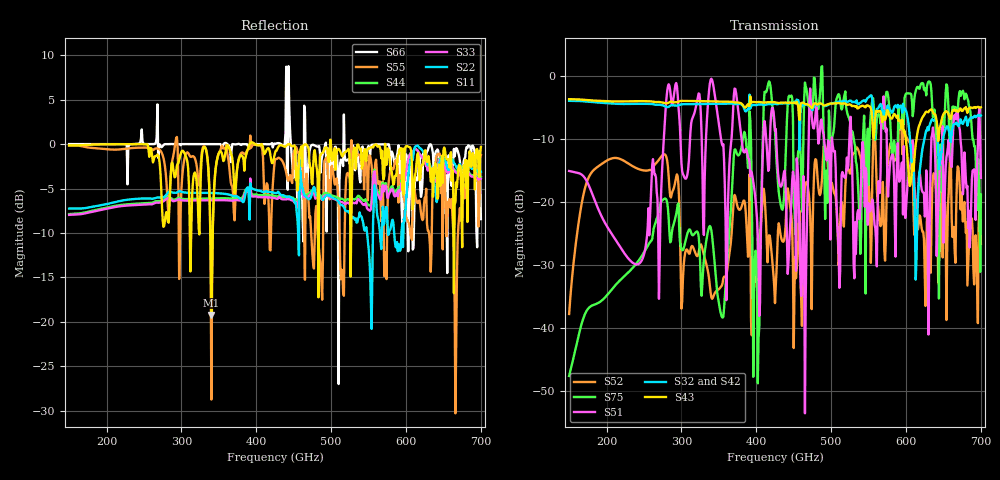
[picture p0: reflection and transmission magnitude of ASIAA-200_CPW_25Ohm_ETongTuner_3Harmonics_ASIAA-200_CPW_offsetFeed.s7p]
! Touchstone file exported from HFSS 2019.1.0
!  File:  D:/pgrimes/HFSS/SMA/ASIAA-200_CPW_25Ohm_ETongTuner_3Harmonics.aedt
!  Generated:  10:52:51 AM  Jun 10, 2019
!  Design:  ASIAA-200_CPW_offsetFeed
!  Project:  ASIAA-200_CPW_25Ohm_ETongTuner_3Harmonics
!  Setup:  Setup1
!  Solution:  Sweep
! Variables:
!  Area = 2.01061929829747
!  BackshortLength = 13.5mil
!  CPWGap = 4um
!  CPWLength = 32um
!  CPWSidegap = 2um
!  CPWWidth = 10um
!  CPWlineEndgap = 3um
!  CPWlineSidegap = 2um
!  CPWlineWidth = 8um
!  CPWlinelength = 14um
!  Cap = 0fF
!  CenterGap = 2um
!  ChipHeight = 5mil
!  ChipLength = 6mm
!  ChipSlotDepth = 5mil
!  ChipSlotExtDepth = 7.5mil
!  ChipSlotExtLen = 1.75mm
!  ChipSlotExtLength = 1.75mm
!  ChipSlotExtWidth = 16mil
!  ChipSlotFrontDepth = 5mil
!  ChipSlotFrontLength = 2mm
!  ChipSlotFrontWidth = 16mil
!  ChipSlotLength = 6mm
!  ChipSlotWidth = 20mil
!  ChipWidth = 0.5mm
!  FeedExtLength = 30um
!  FeedExtWidth = 10um
!  FeedLength = 100um
!  FeedWidth = 5um
!  GroundThick = 0.2um
!  InputLength = 400um
!  JunctionSize = 1.6um
!  Line2Length = 9um
!  PadWidth = 6um
!  Rj = 13.4286983233787ohm
!  Rn = 13.4286983233787ohm
!  RnA = 27ohm
!  Scap = 0fF
!  SiOlength = 200um
!  SiOstart = 50um
!  SiOthick = 0.25um
!  SiOwidth = 100um
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# GHZ S DB R 50.000000
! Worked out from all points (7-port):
!   551 points, 150 GHz to 700 GHz, reference 50 ohm
!   strongest paths, dB at 150 GHz, 287 GHz, 425 GHz, 563 GHz, 700 GHz:
!     S43: -3.6, -4.0, -4.1, -5.6, -4.9
!     S32: -3.9, -4.6, -4.4, -5.1, -6.2
!     S42: -3.9, -4.7, -4.6, -5.3, -6.5
!     S51: -15.1, -4.4, -8.7, -16.7, -16.1
!     S75: -47.6, -25.0, -8.6, -6.0, -18.8
!     S52: -37.8, -18.7, -36.1, -20.9, -26.6
!   lowest |S11| = -19.2 dB at 340 GHz (marker M1), VSWR 1.25, Z = 51.9 + j11.1 ohm
!   |S11| at or under -10 dB: 311.2 GHz to 313.1 GHz (1.816 GHz wide, 0.582 % of centre); 323.7967 GHz to 324.0411 GHz (244.3 MHz wide, 0.0754 % of centre); 338.6 GHz to 341.8 GHz (3.194 GHz wide, 0.939 % of centre)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
